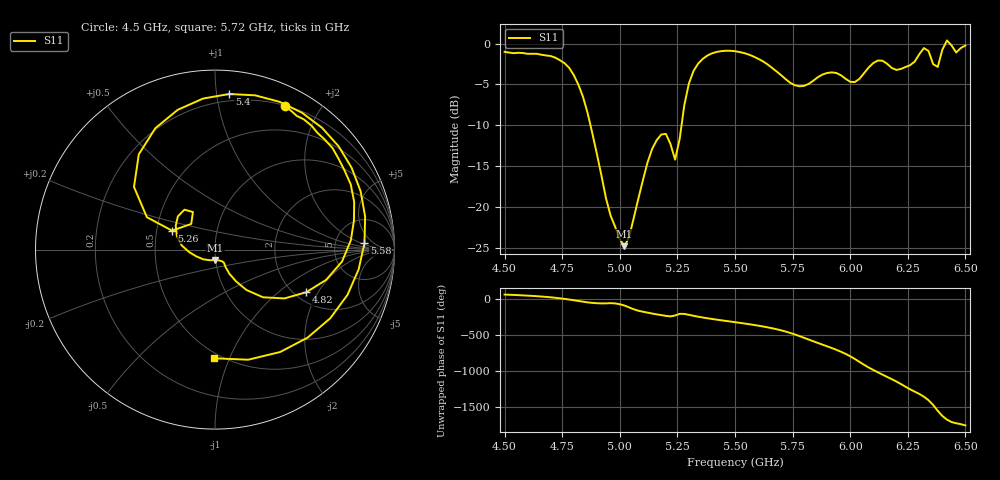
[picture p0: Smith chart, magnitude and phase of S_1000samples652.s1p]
! TOUCHSTONE file generated by CST MICROWAVE STUDIO
! Date and time: Fri Oct 28 22:09:08 2022
! Project name: L.cst
! Parameters = {Di=1.27; Epsilon_r=1.56; InnerDiameter=1.27; Length=2; Lf=10; Lg=60; OuterConductorThickness=0.2921; OuterDiameter=3.6; Wf=3; Wp=41.2; de=1.5; df=6.8; g=0.8; gx=4.20816; gy=0.471558; h=2.34; hf=1.524; px=11.7317; py=13.1817; w=9.7; wx=7.52355; wy=12.7102}
! Header version: 2018
! Port assignment regex: !\s*Touchstone port\s*([0-9]+)\s*=\s*(CST MWS port|CST DS port)\s*([0-9]+|Zmin|Zmax)\s*\(\"(.*)\"\)(\s*mode\s*([0-9]+))?.*
! Touchstone port assignment:
! Touchstone port 1 = CST MWS port 1 ("")
# GHz S DB R 50
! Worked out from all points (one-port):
!   101 points, 4.5 GHz to 6.5 GHz, reference 50 ohm
!   lowest |S11| = -24.8 dB at 5.02 GHz (marker M1), VSWR 1.12, Z = 49.8 - j5.75 ohm
!   |S11| at or under -10 dB: 4.873 GHz to 5.268 GHz (395.3 MHz wide, 7.8 % of centre)
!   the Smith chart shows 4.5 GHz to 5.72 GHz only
!   S11 on the Smith chart (normalised r, x): 4.5 GHz: 0.21, +1.58; 4.82 GHz: 2.30, -1.59; 5.26 GHz: 0.60, +0.14; 5.4 GHz: 0.15, +1.09; 5.58 GHz: 10, +2; 5.72 GHz: 0.46, -0.88
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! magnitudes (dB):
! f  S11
! 4.5 GHz  -1.0
! 4.76 GHz  -2.4
! 4.82 GHz  -5.0
! 4.86 GHz  -8.5
! 4.96 GHz  -21.1
! 5 GHz  -23.9
! 5.02 GHz  -24.8
! 5.04 GHz  -23.7
! 5.14 GHz  -12.9
! 5.2 GHz  -11.1
! 5.24 GHz  -14.2
! 5.26 GHz  -11.6
! 5.28 GHz  -7.5
! 5.32 GHz  -3.4
! 5.4 GHz  -1.2
! 5.5 GHz  -0.9
! 5.58 GHz  -1.6
! 5.72 GHz  -4.4
! 5.76 GHz  -5.1
! 5.92 GHz  -3.5
! 6 GHz  -4.7
! 6.12 GHz  -2.1
! 6.26 GHz  -2.6
! 6.32 GHz  -0.6
! 6.38 GHz  -2.9
! 6.42 GHz  0.4
! 6.46 GHz  -1.1
! 6.5 GHz  -0.2
